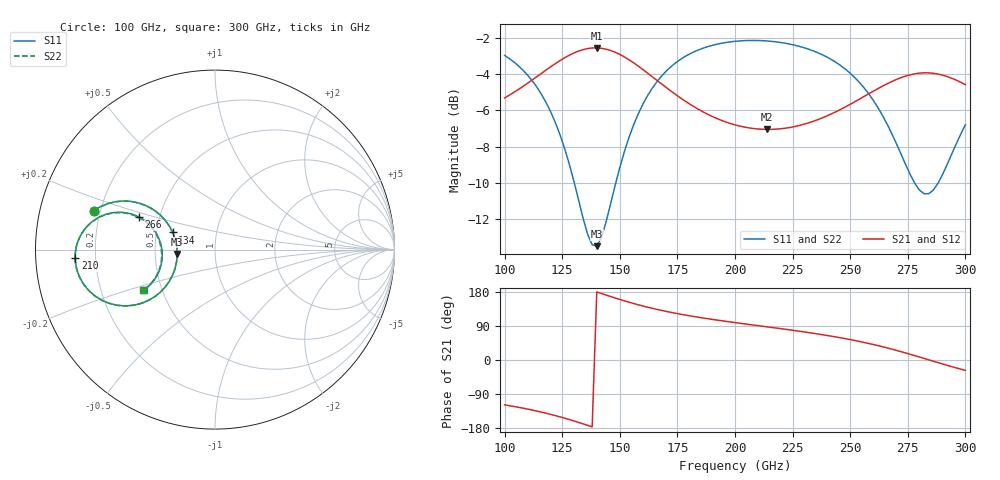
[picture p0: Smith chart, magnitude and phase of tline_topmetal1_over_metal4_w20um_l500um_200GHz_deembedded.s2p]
! Created with skrf 2.2.0 (http://scikit-rf.org).
# GHz S DB R 50.0
! Port[1] = P1
! Port[2] = P2
!freq dBS11 angS11 dBS21 angS21 dBS12 angS12 dBS22 angS22
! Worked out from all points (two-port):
!   101 points, 100 GHz to 300 GHz, reference 50 ohm
!   highest |S21| = -2.56 dB at 140 GHz (marker M1); lowest = -7.0 dB at 214 GHz (marker M2)
!   |S21| within 3 dB of the highest: start of sweep to 179.2 GHz; 251.5 GHz to end of sweep
!   lowest |S11| = -13.5 dB at 140 GHz (marker M3), VSWR 1.54, Z = 32.6 - j1.67 ohm
!   |S11| at or under -10 dB: 130.3 GHz to 148.2 GHz (17.99 GHz wide, 12.9 % of centre); 278 GHz to 288.2 GHz (10.2 GHz wide, 3.61 % of centre)
!   |S22| runs from -13.5 to -2.1 dB; largest |S21 - S12| = 1.1e-13
!   S11 on the Smith chart (normalised r, x): 100 GHz: 0.17, +0.15; 134 GHz: 0.61, +0.12; 210 GHz: 0.12, -0.03; 266 GHz: 0.38, +0.18; 300 GHz: 0.39, -0.23
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100  -2.98 162.2  -5.32 -118.4  -5.32 -118.4  -2.98 162.3
112  -4.37 153.6  -4.33 -132.1  -4.33 -132.1  -4.38 153.7
120  -6.08 148.5  -3.60 -143.5  -3.60 -143.5  -6.09 148.6
126  -8.08 147.1  -3.11 -153.4  -3.11 -153.4  -8.09 147.2
134  -11.91 157.9  -2.66 -168.4  -2.66 -168.4  -11.92 158.1
138  -13.40 175.5  -2.57 -176.4  -2.57 -176.4  -13.40 175.8
140  -13.48 -173.4  -2.56 179.6  -2.56 179.6  -13.47 -173.1
146  -11.15 -148.8  -2.70 167.6  -2.70 167.6  -11.13 -148.6
154  -7.49 -142.0  -3.22 152.5  -3.22 152.5  -7.47 -141.9
168  -4.13 -150.0  -4.54 131.0  -4.54 131.0  -4.12 -150.0
184  -2.68 -161.4  -5.93 112.9  -5.93 112.9  -2.67 -161.4
200  -2.20 -171.1  -6.80 98.7  -6.80 98.7  -2.19 -171.0
210  -2.16 -176.6  -7.03 90.6  -7.03 90.6  -2.15 -176.5
214  -2.18 -178.8  -7.05 87.5  -7.05 87.5  -2.18 -178.7
234  -2.73 170.5  -6.60 70.5  -6.60 70.5  -2.72 170.7
252  -4.20 160.8  -5.53 51.4  -5.53 51.4  -4.19 161.0
266  -6.75 156.8  -4.54 31.9  -4.54 31.9  -6.72 157.1
268  -7.27 157.3  -4.42 28.8  -4.42 28.8  -7.23 157.6
278  -10.01 169.5  -3.99 11.6  -3.99 11.6  -9.94 169.8
284  -10.60 -173.9  -3.94 0.6  -3.94 0.6  -10.51 -173.9
292  -9.00 -155.7  -4.14 -13.8  -4.14 -13.8  -8.94 -155.9
300  -6.79 -150.3  -4.59 -27.3  -4.59 -27.3  -6.76 -150.5
